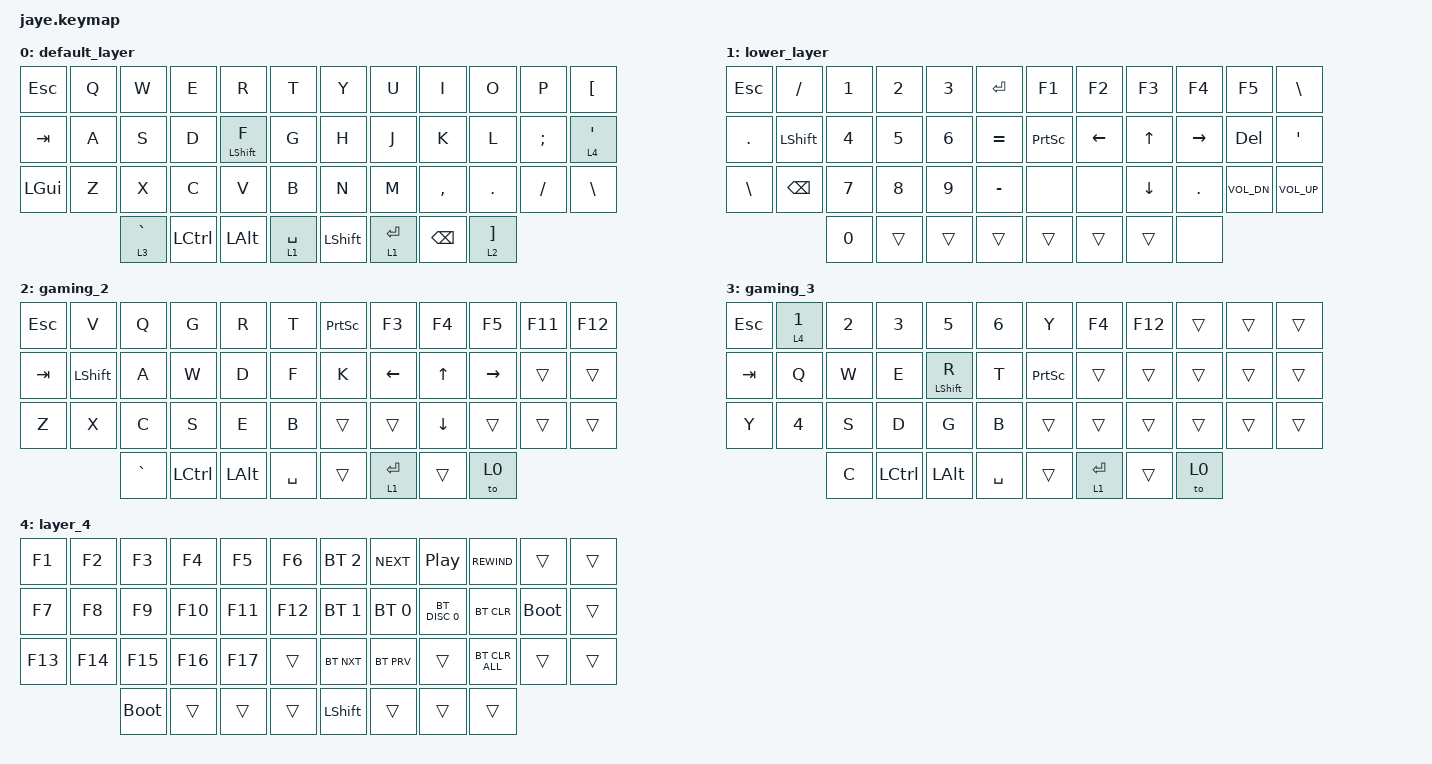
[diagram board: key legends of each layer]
#include <behaviors.dtsi>
#include <dt-bindings/zmk/bt.h>
#include <dt-bindings/zmk/keys.h>

// #include <dt-bindings/zmk/outputs.h>

#define DEF 0
#define LWR 1
#define RSE 2
#define ADJ 3

// tapping-term-ms = <175>;};

&mt { quick_tap_ms = <200>; };

&gresc { mods = <(MOD_LSFT)>; };

&lt {
};

/ {
    behaviors {
        hm: homerow_mods {
            compatible = "zmk,behavior-hold-tap";
            #binding-cells = <2>;
            tapping-term-ms = <179>;
            quick-tap-ms = <0>;
            flavor = "tap-preferred";
            bindings = <&kp>, <&kp>;
        };
    };

    combos {
        compatible = "zmk,combos";

        del {
            bindings = <&kp DEL>;
            key-positions = <26 27>;
        };
    };

    behaviors {
        new_layer: new_layer {
            compatible = "zmk,behavior-hold-tap";
            label = "NEW_LAYER";
            bindings = <&to>, <&kp>;

            #binding-cells = <2>;
            tapping-term-ms = <225>;
        };

        bl_ctrl: bl_ctrl {
            compatible = "zmk,behavior-hold-tap";
            label = "BL_CTRL";
            bindings = <&mo>, <&kp>;

            #binding-cells = <2>;
            tapping-term-ms = <300>;
        };
    };

    keymap {
        compatible = "zmk,keymap";

        default_layer {
            // |   ESC   |    Q    |    W    |    E    |    R    |    T    |                                          |    Y    |    U    |    I    |    O    |    P    |    \    |
            // |   TAB   |    A    |    S    |    D    |    F    |    G    |                                          |    H    |    J    |    K    |    L    |    ;    |    '    |
            // |   GUI   |    Z    |    X    |    C    |    V    |    B    |                                          |    N    |    M    |    ,    |    .    |    /    |  R CTRL |
            //                     |   GUI   |   DEL   | RETURN  |  SPACE  |                                          |  SHIFT  |   ENTER   |   BSPC  |  R ALT  |

            bindings = <
&kp ESC       &kp Q  &kp W               &kp E      &kp R             &kp T        &kp Y           &kp U        &kp I      &kp O                       &kp P     &kp LEFT_BRACKET
&kp TAB       &kp A  &kp S               &kp D      &hm LEFT_SHIFT F  &kp G        &kp H           &kp J        &kp K      &kp L                       &kp SEMI  &bl_ctrl 4 SQT
&kp LEFT_GUI  &kp Z  &kp X               &kp C      &kp V             &kp B        &kp N           &kp M        &kp COMMA  &kp DOT                     &kp FSLH  &kp BACKSLASH
                     &new_layer 3 GRAVE  &kp LCTRL  &kp LEFT_ALT      &lt 1 SPACE  &kp LEFT_SHIFT  &lt 1 ENTER  &kp BSPC   &new_layer 2 RIGHT_BRACKET
            >;
        };

        lower_layer {
            bindings = <
&kp ESC        &kp SLASH       &kp NUMBER_1  &kp NUMBER_2  &kp NUMBER_3  &kp ENTER  &kp F1           &kp F2    &kp F3    &kp F4     &kp F5        &kp BSLH
&kp DOT        &kp LEFT_SHIFT  &kp NUMBER_4  &kp N5        &kp NUMBER_6  &kp EQUAL  &kp PRINTSCREEN  &kp LEFT  &kp UP    &kp RIGHT  &kp DEL       &kp SQT
&kp BACKSLASH  &kp BACKSPACE   &kp N7        &kp N8        &kp N9        &kp MINUS  &none            &none     &kp DOWN  &kp DOT    &kp C_VOL_DN  &kp C_VOL_UP
                               &kp N0        &trans        &trans        &trans     &trans           &trans    &trans    &none
            >;
        };

        gaming_2 {
            bindings = <
&kp ESCAPE  &kp V           &kp Q      &kp G      &kp R         &kp T      &kp PRINTSCREEN  &kp F3          &kp F4          &kp F5           &kp F11  &kp F12
&kp TAB     &kp LEFT_SHIFT  &kp A      &kp W      &kp D         &kp F      &kp K            &kp LEFT_ARROW  &kp UP_ARROW    &kp RIGHT_ARROW  &trans   &trans
&kp Z       &kp X           &kp C      &kp S      &kp E         &kp B      &trans           &trans          &kp DOWN_ARROW  &trans           &trans   &trans
                            &kp GRAVE  &kp LCTRL  &kp LEFT_ALT  &kp SPACE  &trans           &lt 1 ENTER     &trans          &to 0
            >;
        };

        gaming_3 {
            bindings = <
&kp ESCAPE  &lt 4 NUMBER_1  &kp NUMBER_2  &kp NUMBER_3  &kp NUMBER_5      &kp NUMBER_6  &kp Y            &kp F4       &kp F12  &trans  &trans  &trans
&kp TAB     &kp Q           &kp W         &kp E         &hm LEFT_SHIFT R  &kp T         &kp PRINTSCREEN  &trans       &trans   &trans  &trans  &trans
&kp Y       &kp NUMBER_4    &kp S         &kp D         &kp G             &kp B         &trans           &trans       &trans   &trans  &trans  &trans
                            &kp C         &kp LCTRL     &kp LEFT_ALT      &kp SPACE     &trans           &lt 1 ENTER  &trans   &to 0
            >;
        };

        layer_4 {
            bindings = <
&kp F1   &kp F2   &kp F3       &kp F4   &kp F5   &kp F6   &bt BT_SEL 2    &kp C_NEXT    &kp C_PLAY_PAUSE  &kp C_REWIND    &trans       &trans
&kp F7   &kp F8   &kp F9       &kp F10  &kp F11  &kp F12  &bt BT_SEL 1    &bt BT_SEL 0  &bt BT_DISC 0     &bt BT_CLR      &bootloader  &trans
&kp F13  &kp F14  &kp F15      &kp F16  &kp F17  &trans   &bt BT_NXT      &bt BT_PRV    &trans            &bt BT_CLR_ALL  &trans       &trans
                  &bootloader  &trans   &trans   &trans   &kp LEFT_SHIFT  &trans        &trans            &trans
            >;
        };
    };
};
